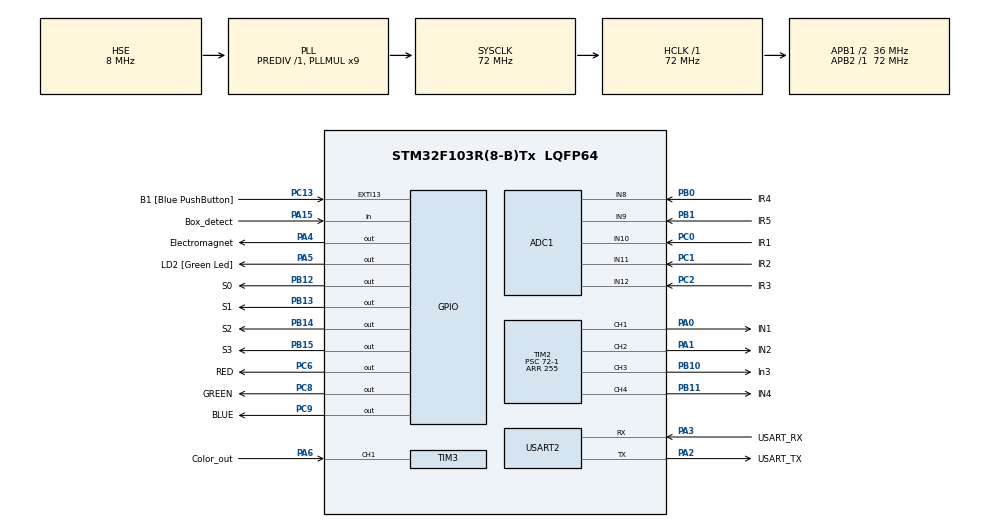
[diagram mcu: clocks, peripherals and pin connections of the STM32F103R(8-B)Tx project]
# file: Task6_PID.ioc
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ADC1.Channel-0\#ChannelRegularConversion=ADC_CHANNEL_10
ADC1.Channel-1\#ChannelRegularConversion=ADC_CHANNEL_11
ADC1.Channel-2\#ChannelRegularConversion=ADC_CHANNEL_12
ADC1.Channel-3\#ChannelRegularConversion=ADC_CHANNEL_8
ADC1.Channel-4\#ChannelRegularConversion=ADC_CHANNEL_9
ADC1.ContinuousConvMode=ENABLE
ADC1.NbrOfConversion=5
ADC1.NbrOfConversionFlag=1
ADC1.Rank-0\#ChannelRegularConversion=1
ADC1.Rank-1\#ChannelRegularConversion=2
ADC1.Rank-2\#ChannelRegularConversion=3
ADC1.Rank-3\#ChannelRegularConversion=4
ADC1.Rank-4\#ChannelRegularConversion=5
ADC1.SamplingTime-0\#ChannelRegularConversion=ADC_SAMPLETIME_55CYCLES_5
ADC1.SamplingTime-1\#ChannelRegularConversion=ADC_SAMPLETIME_55CYCLES_5
ADC1.SamplingTime-2\#ChannelRegularConversion=ADC_SAMPLETIME_55CYCLES_5
ADC1.SamplingTime-3\#ChannelRegularConversion=ADC_SAMPLETIME_55CYCLES_5
ADC1.SamplingTime-4\#ChannelRegularConversion=ADC_SAMPLETIME_55CYCLES_5
ADC1.master=1
Dma.ADC1.0.Direction=DMA_PERIPH_TO_MEMORY
Dma.ADC1.0.Instance=DMA1_Channel1
Dma.ADC1.0.MemDataAlignment=DMA_MDATAALIGN_HALFWORD
Dma.ADC1.0.MemInc=DMA_MINC_ENABLE
Dma.ADC1.0.Mode=DMA_CIRCULAR
Dma.ADC1.0.PeriphDataAlignment=DMA_PDATAALIGN_HALFWORD
Dma.ADC1.0.PeriphInc=DMA_PINC_DISABLE
Dma.ADC1.0.Priority=DMA_PRIORITY_LOW
Dma.Request0=ADC1
Mcu.Family=STM32F1
Mcu.Name=STM32F103R(8-B)Tx
Mcu.Package=LQFP64
NVIC.ADC1_2_IRQn=true\:0\:0\:false\:false\:true\:true\:true\:true
NVIC.DMA1_Channel1_IRQn=true\:0\:0\:false\:false\:true\:false\:true\:true
NVIC.EXTI15_10_IRQn=true\:0\:0\:false\:false\:true\:true\:true\:true
NVIC.PriorityGroup=NVIC_PRIORITYGROUP_4
NVIC.TIM3_IRQn=true\:0\:0\:false\:false\:true\:true\:true\:true
PA0-WKUP.GPIO_Label=IN1
PA0-WKUP.Signal=S_TIM2_CH1_ETR
PA1.GPIO_Label=IN2
PA1.Signal=S_TIM2_CH2
PA13.GPIO_Label=TMS
PA13.Mode=Serial_Wire
PA13.Signal=SYS_JTMS-SWDIO
PA14.GPIO_Label=TCK
PA14.Mode=Serial_Wire
PA14.Signal=SYS_JTCK-SWCLK
PA15.GPIO_Label=Box_detect
PA15.Signal=GPIO_Input
PA2.GPIO_Label=USART_TX
PA2.GPIO_Mode=GPIO_MODE_AF_PP
PA2.GPIO_PuPd=GPIO_NOPULL
PA2.GPIO_Speed=GPIO_SPEED_FREQ_LOW
PA2.Mode=Asynchronous
PA2.Signal=USART2_TX
PA3.GPIO_Label=USART_RX
PA3.GPIO_Mode=GPIO_MODE_AF_PP
PA3.GPIO_PuPd=GPIO_NOPULL
PA3.GPIO_Speed=GPIO_SPEED_FREQ_LOW
PA3.Mode=Asynchronous
PA3.Signal=USART2_RX
PA4.GPIO_Label=Electromagnet
PA4.Signal=GPIO_Output
PA5.GPIO_Label=LD2 [Green Led]
PA5.GPIO_ModeDefaultOutputPP=GPIO_MODE_OUTPUT_PP
PA5.GPIO_PuPd=GPIO_NOPULL
PA5.GPIO_Speed=GPIO_SPEED_FREQ_LOW
PA5.Signal=GPIO_Output
PA6.GPIO_Label=Color_out
PA6.Signal=S_TIM3_CH1
PB0.GPIO_Label=IR4
PB0.Signal=ADCx_IN8
PB1.GPIO_Label=IR5
PB1.Signal=ADCx_IN9
PB10.GPIO_Label=In3
PB10.Signal=S_TIM2_CH3
PB11.GPIO_Label=IN4
PB11.Signal=S_TIM2_CH4
PB12.GPIO_Label=S0
PB12.Signal=GPIO_Output
PB13.GPIO_Label=S1
PB13.Signal=GPIO_Output
PB14.GPIO_Label=S2
PB14.Signal=GPIO_Output
PB15.GPIO_Label=S3
PB15.Signal=GPIO_Output
PB3.GPIO_Label=SWO
PB3.Signal=SYS_JTDO-TRACESWO
PC0.GPIO_Label=IR1
PC0.Signal=ADCx_IN10
PC1.GPIO_Label=IR2
PC1.Signal=ADCx_IN11
PC13-TAMPER-RTC.GPIO_Label=B1 [Blue PushButton]
PC13-TAMPER-RTC.GPIO_PuPd=GPIO_NOPULL
PC13-TAMPER-RTC.Signal=GPXTI13
PC14-OSC32_IN.Mode=LSE-External-Oscillator
PC14-OSC32_IN.Signal=RCC_OSC32_IN
PC15-OSC32_OUT.Mode=LSE-External-Oscillator
PC15-OSC32_OUT.Signal=RCC_OSC32_OUT
PC2.GPIO_Label=IR3
PC2.Signal=ADCx_IN12
PC6.GPIO_Label=RED
PC6.Signal=GPIO_Output
PC8.GPIO_Label=GREEN
PC8.Signal=GPIO_Output
PC9.GPIO_Label=BLUE
PC9.Signal=GPIO_Output
PD0-OSC_IN.Mode=HSE-External-Clock-Source
PD0-OSC_IN.Signal=RCC_OSC_IN
PD1-OSC_OUT.Mode=HSE-External-Clock-Source
PD1-OSC_OUT.Signal=RCC_OSC_OUT
ProjectManager.HeapSize=0x200
ProjectManager.StackSize=0x400
ProjectManager.TargetToolchain=STM32CubeIDE
RCC.ADCPresc=RCC_ADCPCLK2_DIV6
RCC.AHBFreq_Value=72000000
RCC.APB1CLKDivider=RCC_HCLK_DIV2
RCC.APB1Freq_Value=36000000
RCC.APB1TimFreq_Value=72000000
RCC.APB2Freq_Value=72000000
RCC.APB2TimFreq_Value=72000000
RCC.HCLKFreq_Value=72000000
RCC.PLLMUL=RCC_PLL_MUL9
RCC.PLLSourceVirtual=RCC_PLLSOURCE_HSE
RCC.RTCClockSelection=RCC_RTCCLKSOURCE_LSE
RCC.SYSCLKFreq_VALUE=72000000
RCC.SYSCLKSource=RCC_SYSCLKSOURCE_PLLCLK
RCC.USBFreq_Value=72000000
SH.ADCx_IN10.0=ADC1_IN10,IN10
SH.ADCx_IN11.0=ADC1_IN11,IN11
SH.ADCx_IN12.0=ADC1_IN12,IN12
SH.ADCx_IN8.0=ADC1_IN8,IN8
SH.ADCx_IN9.0=ADC1_IN9,IN9
SH.S_TIM2_CH1_ETR.0=TIM2_CH1,PWM Generation1 CH1
SH.S_TIM2_CH2.0=TIM2_CH2,PWM Generation2 CH2
SH.S_TIM2_CH3.0=TIM2_CH3,PWM Generation3 CH3
SH.S_TIM2_CH4.0=TIM2_CH4,PWM Generation4 CH4
SH.S_TIM3_CH1.0=TIM3_CH1,Input_Capture1_from_TI1
TIM2.Channel-PWM\ Generation1\ CH1=TIM_CHANNEL_1
TIM2.Channel-PWM\ Generation2\ CH2=TIM_CHANNEL_2
TIM2.Channel-PWM\ Generation3\ CH3=TIM_CHANNEL_3
TIM2.Channel-PWM\ Generation4\ CH4=TIM_CHANNEL_4
TIM2.Period=255
TIM2.Prescaler=72-1
TIM3.Channel-Input_Capture1_from_TI1=TIM_CHANNEL_1
USART2.VirtualMode=VM_ASYNC
board=NUCLEO-F103RB

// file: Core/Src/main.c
/* USER CODE BEGIN Header */
/**
 ******************************************************************************
 * Team ID         :3568
 * Author list     :E.Venkata Sai Sudharshan Reddy, P.Kusuma Venkata Siva Sai, K.Prakash Reddy, P.Akhil Naidu.
 * @file           : main.c(Task6)
 * @brief          : 3-box PID line follower – random colour placement
 * Theme           : eYRC Crop Drop Bot(CB)
 * Functions       :SystemClock_Config, MX_GPIO_Init, MX_DMA_Init, MX_USART2_UART_Init, MX_ADC1_Init, MX_TIM2_Init, MX_TIM3_Init, NormalizeReflectance, CalculatePosition, ComputePID, SetMotorSpeeds,FloatToString, Check_Surface_Mode, Local_Color_Detect, Do_Pickup_Routine, SetColorLED,HAL_ADC_ConvCpltCallback, Error_Handler, assert_failed.

 * Global Variables: ADC_HandleTypeDef hadc1, DMA_HandleTypeDef hdma_adc1, TIM_HandleTypeDef htim2, TIM_HandleTypeDef htim3, UART_HandleTypeDef huart2, uint16_t adcBuffer[5], float reflectance[5], float voltages[5], float integral, float prev_error, float filtered_position, volatile uint8_t adc_complete, RobotState current_state, bool is_black_line_mode, InternalBoxColor picked_color, uint8_t boxes_delivered, uint8_t scan_count, InternalBoxColor scanned_colors[2], static float prev_reflect[5].
 *
 *  Drop-zone routing (decided by colour sensor at pickup, not search order):
 *    RED  → node 1 on black line → right turn → drop
 *    BLUE → node 2 on black line → left  turn → drop
 *    GREEN→ node 3 on black line → right turn → drop
 ******************************************************************************
 * @attention
 *
 * Copyright (c) 2026 STMicroelectronics.
 * All rights reserved.
 *
 * This software is licensed under terms that can be found in the LICENSE file
 * in the root directory of this software component.
 * If no LICENSE file comes with this software, it is provided AS-IS.
 *
 ******************************************************************************
 */
/* USER CODE END Header */

#include "main.h"

/* USER CODE BEGIN Includes */
#include "Color.h"
#include <math.h>
#include <stdbool.h>
#include <stdint.h>
#include <stdio.h>
#include <stdlib.h>
#include <string.h>
/* USER CODE END Includes */

/* USER CODE BEGIN PTD */

/**
 *  Simplified 7-state machine.
 *  The same STATE_SEARCH / STATE_RETURN / STATE_BRANCH_OUT / STATE_BRANCH_RET
 *  are reused for all 3 trips.  Routing is driven by picked_color, not by
 *  which trip number we are on.
 */
typedef enum {
  STATE_PRE_SCAN,     // Scan first 2 boxes WITHOUT picking up; count colours
  STATE_SEARCH,       // Follow white line, detect & pick up 3rd box
  STATE_RETURN,       // Carry box on black line, count nodes to drop zone
  STATE_BRANCH_OUT,   // Drive down branch to drop point, release box
  STATE_BRANCH_RET,   // Spin and return from branch back to main line
  STATE_TRANSITION,   // Cross black-line area → white-line source area
  STATE_FINAL_RETURN, // All 3 boxes dropped; return to start & stop
  STATE_DONE,         // Motors off, white LED solid ON
  STATE_BLINK         // Blink white LED after final stop
} RobotState;

typedef enum { BOX_NONE = 0, BOX_RED, BOX_GREEN, BOX_BLUE } InternalBoxColor;

/* USER CODE END PTD */

/* USER CODE BEGIN PD */

// ── PID Gains ──────────────────────────────────────────────────────────────
#define KP 60.0f
#define KI 0.05f
#define KD 30.0f

#define KP_WL 180.00f
#define KI_WL 10.095f
#define KD_WL 45.500f

// ── Speed Settings ──────────────────────────────────────────────────────────
#define BASE_SPEED 250
#define BASE_SPEED_WL 270
#define MAX_TURN_DIFF 400

// ── Turning Assistance – Black Line ─────────────────────────────────────────
#define SHARP_TURN_THRESH_BL 0.8f
#define TURN_BOOST_BL 2.50f
#define HARD_TURN_ERR_BL 0.6f
#define EXTREME_TURN_ERR_BL 1.8f
#define HARD_TURN_ADD_BL 180
#define HARD_TURN_SUB_BL 120
#define EXTREME_TURN_L_BL 255
#define EXTREME_TURN_R_BL -250

// ── Turning Assistance – White Line ─────────────────────────────────────────
#define SHARP_TURN_THRESH_WL 0.9f
#define TURN_BOOST_WL 3.0f
#define HARD_TURN_ERR_WL 0.60f
#define EXTREME_TURN_ERR_WL 1.8f
#define HARD_TURN_ADD_WL 210
#define HARD_TURN_SUB_WL 190
#define EXTREME_TURN_L_WL 250
#define EXTREME_TURN_R_WL -250

// ── Line / Node Detection ───────────────────────────────────────────────────
#define LINE_LOST_THRESHOLD 12.0f
#define BLACK_LINE_THRESH 12.0f // reflectance % below this → on black line
#define WHITE_NODE_THRESH 60.0f // reflectance % above this → white-line node

// ── Mode Switching ──────────────────────────────────────────────────────────
#define SURFACE_THRESH 55.0f
#define MODE_DEBOUNCE_COUNT 8

// ── Control Loop ────────────────────────────────────────────────────────────
#define LOOP_DELAY_MS 1.5f
#define INTEGRAL_LIMIT 22.50f
#define FILTER_ALPHA 0.5f

// ── Color Detection Gains (used in Local_Color_Detect) ──────────────────────
#ifndef COLOR_R_GAIN
#define COLOR_R_GAIN 1.8f
#endif
#ifndef COLOR_G_GAIN
#define COLOR_G_GAIN 2.9f
#endif
#ifndef COLOR_B_GAIN
#define COLOR_B_GAIN 1.99f
#endif
#ifndef COLOR_DIFF
#define COLOR_DIFF 200
#endif

// ── Sensor Calibration ──────────────────────────────────────────────────────
const uint16_t black_min_WL[5] = {3250, 3295, 3200, 3200, 1450};
const uint16_t white_max_WL[5] = {4095, 4095, 4095, 4095, 4000};

const uint16_t black_min_BL[5] = {3450,3295, 3680, 3920, 1450};
const uint16_t white_max_BL[5] = {4095, 4095, 4095, 4095, 4095};

const float weights[5] = {-2.0f, -1.0f, 0.0f, 1.0f, 2.0f};

/* USER CODE END PD */

ADC_HandleTypeDef hadc1;
DMA_HandleTypeDef hdma_adc1;
TIM_HandleTypeDef htim2;
TIM_HandleTypeDef htim3;
UART_HandleTypeDef huart2;

/* USER CODE BEGIN PV */
uint16_t adcBuffer[5];
float reflectance[5];
float voltages[5];
float integral = 0.0f;
float prev_error = 0.0f;
float filtered_position = 0.0f;
volatile uint8_t adc_complete = 0;

RobotState current_state = STATE_PRE_SCAN; /* start in pre-scan phase */
bool is_black_line_mode = false;
InternalBoxColor picked_color = BOX_NONE;
uint8_t boxes_delivered = 0; /* counts delivered boxes (0→3) */
uint8_t scan_count = 0;      /* how many boxes scanned without pickup */
InternalBoxColor scanned_colors[2] = {BOX_NONE, BOX_NONE}; /* colours seen */

static float prev_reflect[5] = {0.0f, 0.0f, 0.0f, 0.0f, 0.0f};
/* USER CODE END PV */

void SystemClock_Config(void);
static void MX_GPIO_Init(void);
static void MX_DMA_Init(void);
static void MX_USART2_UART_Init(void);
static void MX_ADC1_Init(void);
static void MX_TIM2_Init(void);
static void MX_TIM3_Init(void);

/* USER CODE BEGIN PFP */
float NormalizeReflectance(int idx, uint16_t raw, bool black_line_mode);
float CalculatePosition(float *den_out, bool black_line);
float ComputePID(float error, float *integral, float *prev_error, float dt,
                 float kp, float ki, float kd);
void SetMotorSpeeds(int16_t left, int16_t right);
char *FloatToString(float value, int precision, char *buf, int sz);
void Check_Surface_Mode(void);
InternalBoxColor Local_Color_Detect(void);
void Do_Pickup_Routine(void);
void SetColorLED(InternalBoxColor color);
/* USER CODE END PFP */

/* USER CODE BEGIN 0 */

/* ────────────────────────────────────────────────────────────────────────────
 * SetColorLED
 * Uses the RGB LED pins defined in Color.h  (PC6 = R, PC8 = G, PC9 = B).
 * LEDs are COMMON ANODE → GPIO_PIN_RESET = ON, GPIO_PIN_SET = OFF.
 *
 *   BOX_RED   → red   LED only
 *   BOX_GREEN → green LED only
 *   BOX_BLUE  → blue  LED only
 *   BOX_NONE  → all 3 ON (white) – shown after each box is dropped
 * ────────────────────────────────────────────────────────────────────────── */
void SetColorLED(InternalBoxColor color) {
  /* Default: all OFF (common-anode → SET = off) */
  GPIO_PinState r = GPIO_PIN_SET;
  GPIO_PinState g = GPIO_PIN_SET;
  GPIO_PinState b = GPIO_PIN_SET;

  switch (color) {
  case BOX_RED:
    r = GPIO_PIN_RESET;
    break; /* only red on   */
  case BOX_GREEN:
    g = GPIO_PIN_RESET;
    break; /* only green on */
  case BOX_BLUE:
    b = GPIO_PIN_RESET;
    break; /* only blue on  */
  default: /* BOX_NONE → white (all on) */
    r = GPIO_PIN_RESET;
    g = GPIO_PIN_RESET;
    b = GPIO_PIN_RESET;
    break;
  }
  /* Write to the colour-sensor LED pins (defined in Color.h) */
  HAL_GPIO_WritePin(COLOR_LED_R_PORT, COLOR_LED_R_PIN, r); /* PC6 */
  HAL_GPIO_WritePin(COLOR_LED_G_PORT, COLOR_LED_G_PIN, g); /* PC8 */
  HAL_GPIO_WritePin(COLOR_LED_B_PORT, COLOR_LED_B_PIN, b); /* PC9 */
}

/* ────────────────────────────────────────────────────────────────────────────
 * Local_Color_Detect
 * Reads TCS3200 once per channel and identifies the dominant colour.
 *
 * WHY we do NOT call Color_Detect() here:
 *   Color_Detect() internally calls Color_ReadRed/Green/Blue() again,
 *   each with a 50 ms HAL_Delay → 150 ms extra.  Because the TCS3200
 *   IC_CaptureCallback updates the shared `frequency` variable on every
 *   rising edge, calling Read() twice returns stale data from the PREVIOUS
 *   filter selection, producing wrong colours (pink / yellow / sky-blue).
 *
 * Solution: one clean set of 3 reads, same gains/threshold as Color.c.
 * ────────────────────────────────────────────────────────────────────────── */
InternalBoxColor Local_Color_Detect(void) {
  /* Select each filter, wait 50 ms for the frequency to stabilise, read */
  uint32_t r = Color_ReadRed();   /* S2=L S3=L → Red   photodiodes */
  uint32_t g = Color_ReadGreen(); /* S2=H S3=H → Green photodiodes */
  uint32_t b = Color_ReadBlue();  /* S2=L S3=H → Blue  photodiodes */

  /* Apply the same normalisation gains as Color.c (from Color.h defines) */
  uint32_t r_n =
      (uint32_t)(r * COLOR_R_GAIN); /* = r * 1.8f  – red is low on TCS3200 */
  uint32_t g_n = (uint32_t)(g * COLOR_G_GAIN); /* = g * 2.9f  */
  uint32_t b_n = (uint32_t)(b * COLOR_B_GAIN); /* = b * 1.99f */

  /* Same thresholds as Color_Detect() in Color.c */
  if ((r_n > g_n + COLOR_DIFF - 100) && (r_n > b_n + COLOR_DIFF - 95))
    return BOX_RED;
  if ((g_n > r_n + COLOR_DIFF) && (g_n > b_n + COLOR_DIFF))
    return BOX_GREEN;
  if ((b_n > r_n + COLOR_DIFF) && (b_n > g_n + COLOR_DIFF))
    return BOX_BLUE;

  return BOX_NONE; /* unrecognised mix – robot keeps electromagnet ON */
}

/* ────────────────────────────────────────────────────────────────────────────
 * NormalizeReflectance  –  raw ADC → 0..100 %
 * ────────────────────────────────────────────────────────────────────────── */
float NormalizeReflectance(int idx, uint16_t raw, bool black_line_mode) {
  uint16_t min_v = black_line_mode ? black_min_BL[idx] : black_min_WL[idx];
  uint16_t max_v = black_line_mode ? white_max_BL[idx] : white_max_WL[idx];
  if (raw <= min_v)
    return 0.0f;
  if (raw >= max_v)
    return 100.0f;
  return ((float)(raw - min_v) / (float)(max_v - min_v)) * 100.0f;
}

/* ────────────────────────────────────────────────────────────────────────────
 * Check_Surface_Mode  –  debounced black/white surface detection
 * ────────────────────────────────────────────────────────────────────────── */
void Check_Surface_Mode(void) {
  float outer_avg = (reflectance[0] + reflectance[4]) / 2.0f;
  static uint32_t stable_count = 0;
  static bool potential_mode = false;

  bool detected_white_surface = (outer_avg > SURFACE_THRESH);

  if (detected_white_surface != is_black_line_mode) {
    if (detected_white_surface == potential_mode) {
      if (++stable_count > MODE_DEBOUNCE_COUNT) {
        is_black_line_mode = detected_white_surface;
        stable_count = 0;
        integral = 0.0f;
        prev_error = 0.0f;
      }
    } else {
      potential_mode = detected_white_surface;
      stable_count = 0;
    }
  } else {
    stable_count = 0;
  }
}

/* ────────────────────────────────────────────────────────────────────────────
 * CalculatePosition  –  weighted-average position in [-2, +2], 0 = centred
 * ────────────────────────────────────────────────────────────────────────── */
float CalculatePosition(float *den_out, bool black_line) {
  float num = 0.0f, den = 0.0f;
  for (int i = 0; i < 5; i++) {
    float s = black_line ? (100.0f - reflectance[i]) : reflectance[i];
    num += s * weights[i];
    den += s;
  }
  *den_out = den;

  float raw_pos = (den > 0.0f) ? (num / den) : 0.0f;
  if (den < LINE_LOST_THRESHOLD)
    raw_pos = filtered_position;

  float delta = raw_pos - filtered_position;
  if (fabsf(delta) > 0.5f)
    raw_pos = filtered_position + (delta > 0 ? 0.5f : -0.5f);

  filtered_position =
      FILTER_ALPHA * filtered_position + (1.0f - FILTER_ALPHA) * raw_pos;
  return filtered_position;
}

/* ────────────────────────────────────────────────────────────────────────────
 * SetMotorSpeeds  –  TIM2 CH1/CH2 = Left motor, CH3/CH4 = Right motor
 * ────────────────────────────────────────────────────────────────────────── */
void SetMotorSpeeds(int16_t left, int16_t right) {
  if (left < 0) {
    __HAL_TIM_SET_COMPARE(&htim2, TIM_CHANNEL_1, 0);
    __HAL_TIM_SET_COMPARE(&htim2, TIM_CHANNEL_2, (uint8_t)(-left));
  } else {
    __HAL_TIM_SET_COMPARE(&htim2, TIM_CHANNEL_1, (uint8_t)left);
    __HAL_TIM_SET_COMPARE(&htim2, TIM_CHANNEL_2, 0);
  }
  if (right < 0) {
    __HAL_TIM_SET_COMPARE(&htim2, TIM_CHANNEL_3, 0);
    __HAL_TIM_SET_COMPARE(&htim2, TIM_CHANNEL_4, (uint8_t)(-right));
  } else {
    __HAL_TIM_SET_COMPARE(&htim2, TIM_CHANNEL_3, (uint8_t)right);
    __HAL_TIM_SET_COMPARE(&htim2, TIM_CHANNEL_4, 0);
  }
}

/* ────────────────────────────────────────────────────────────────────────────
 * FloatToString  –  lightweight float formatter
 * ────────────────────────────────────────────────────────────────────────── */
char *FloatToString(float value, int precision, char *buf, int sz) {
  if (precision < 0)
    precision = 0;
  if (precision > 6)
    precision = 6;
  bool neg = (value < 0.0f);
  if (neg)
    value = -value;
  int ip = (int)value;
  int fp = (int)((value - ip) * powf(10.0f, precision) + 0.5f);
  snprintf(buf, sz, neg ? "-%d.%0*d" : "%d.%0*d", ip, precision, fp);
  return buf;
}

/* ────────────────────────────────────────────────────────────────────────────
 * ComputePID  –  discrete P·I·D with anti-windup
 * ────────────────────────────────────────────────────────────────────────── */
float ComputePID(float error, float *integral, float *prev_error, float dt,
                 float kp, float ki, float kd) {
  if (fabsf(error) > 1.5f)
    *integral = 0.0f;
  *integral += error * dt;
  if (*integral > INTEGRAL_LIMIT)
    *integral = INTEGRAL_LIMIT;
  else if (*integral < -INTEGRAL_LIMIT)
    *integral = -INTEGRAL_LIMIT;
  float deriv = (error - *prev_error) / dt;
  *prev_error = error;
  return kp * error + ki * (*integral) + kd * deriv;
}

/* ────────────────────────────────────────────────────────────────────────────
 * Do_Pickup_Routine
 *   1. Stop.
 *   2. Activate electromagnet.
 *   3. Detect colour → light matching LED.
 *   4. Spin 180° (same motion for every colour).
 *   5. Resume forward.
 * ────────────────────────────────────────────────────────────────────────── */
void Do_Pickup_Routine(void) {
  SetMotorSpeeds(0, 0);
  HAL_GPIO_WritePin(Electromagnet_GPIO_Port, Electromagnet_Pin, GPIO_PIN_SET);
  picked_color = Local_Color_Detect();
  SetColorLED(picked_color); /* Show detected colour               */
  /* Skip the 180° spin for the 1st pickup (boxes_delivered == 0).
   * After the pre-scan, the robot already spun 180° and is facing
   * the drop zones, so no extra spin is needed.
   * For the 2nd and 3rd pickups the spin is required. */
  if (boxes_delivered >= 1) {
    SetMotorSpeeds(-255, 255); /* 180° spin */
    HAL_Delay(640);
  }
  SetMotorSpeeds(BASE_SPEED, BASE_SPEED);
}

/* USER CODE END 0 */

/**
 * @brief  Application entry point.
 * @retval int
 */
int main(void) {

  HAL_Init();

  SystemClock_Config();

  MX_GPIO_Init();
  MX_DMA_Init();
  MX_USART2_UART_Init();
  MX_ADC1_Init();
  MX_TIM2_Init();
  MX_TIM3_Init();

  /* USER CODE BEGIN 2 */
  HAL_TIM_PWM_Start(&htim2, TIM_CHANNEL_1);
  HAL_TIM_PWM_Start(&htim2, TIM_CHANNEL_2);
  HAL_TIM_PWM_Start(&htim2, TIM_CHANNEL_3);
  HAL_TIM_PWM_Start(&htim2, TIM_CHANNEL_4);

  Color_Init(&htim3);
  HAL_ADC_Start_DMA(&hadc1, (uint32_t *)adcBuffer, 5);
  /* USER CODE END 2 */

  while (1) {
    /* USER CODE BEGIN 3 */

    if (adc_complete) {
      adc_complete = 0;

      /* ── 1. Normalise & low-pass filter sensor readings ─────── */
      float den = 0.0f;
      for (int i = 0; i < 5; i++) {
        float raw = NormalizeReflectance(i, adcBuffer[i], is_black_line_mode);
        reflectance[i] =
            FILTER_ALPHA * raw + (1.0f - FILTER_ALPHA) * prev_reflect[i];
        prev_reflect[i] = reflectance[i];
        voltages[i] = (adcBuffer[i] / 4095.0f) * 3.3f;
        den += reflectance[i];
      }

      /* ── 2. Surface-mode detection ──────────────────────────── */
      Check_Surface_Mode();

      /* ── 3. State machine ───────────────────────────────────── */
      static int node_count = 0;
      static uint32_t last_node_time = 0;
      static uint32_t branch_timer = 0;

      switch (current_state) {
      /* ══════════════════════════════════════════════════════════
       * STATE_PRE_SCAN
       * Follow white line at full speed.
       * Each time box-detect fires: increment scan_count (no stop,
       * no colour read, no LED).
       * After 2 counts AND all sensors white: spin 180° → STATE_SEARCH.
       * ══════════════════════════════════════════════════════════ */
      case STATE_PRE_SCAN: {
        static uint32_t scan_debounce = 0;

        /* Quick count – no stop, no colour read */
        if (HAL_GPIO_ReadPin(Box_detect_GPIO_Port, Box_detect_Pin) ==
                GPIO_PIN_RESET &&
            (HAL_GetTick() - scan_debounce > 600)) {
          scan_count++;
          scan_debounce = HAL_GetTick();
        }

        /* After both boxes counted: wait for all-white, then spin + go */
        if (scan_count >= 2) {
          float total_reflect = 0.0f;
          for (int i = 0; i < 5; i++)
            total_reflect += reflectance[i];

          if ((total_reflect / 5.0f) > 70.0f) {
            SetMotorSpeeds(0, 0);
            HAL_Delay(00);
            SetMotorSpeeds(-255, 255); /* spin 180° */
            HAL_Delay(650);
            SetMotorSpeeds(BASE_SPEED_WL, BASE_SPEED_WL);
            HAL_Delay(00);
            current_state = STATE_SEARCH; /* 3rd box – pick it up */
          }
        }
        break;
      }
      /* ══════════════════════════════════════════════════════════
       *  STATE_SEARCH
       *  Follow white line until the box-detect sensor fires.
       *  Pickup, identify colour, light LED, spin 180°.
       * ══════════════════════════════════════════════════════════ */
      case STATE_SEARCH:
        if (HAL_GPIO_ReadPin(Box_detect_GPIO_Port, Box_detect_Pin) ==
            GPIO_PIN_RESET) {
          Do_Pickup_Routine(); /* stops, picks, lights LED, spins    */
          node_count = 0;
          last_node_time = HAL_GetTick();
          current_state = STATE_RETURN;
        }
        break;

      /* ══════════════════════════════════════════════════════════
       *  STATE_RETURN
       *  Navigate on the black line by counting nodes.
       *  Drop-zone routing decided entirely by picked_color:
       *
       *    RED   → node 1, turn RIGHT  (SetMotorSpeeds 250, -250)
       *    BLUE  → node 2, turn LEFT   (SetMotorSpeeds -255, 255)
       *    GREEN → node 3, turn RIGHT  (SetMotorSpeeds 250, -250)
       * ══════════════════════════════════════════════════════════ */
      case STATE_RETURN:
        if (is_black_line_mode) {
          int black_count = 0;
          for (int i = 0; i < 5; i++)
            if (reflectance[i] < BLACK_LINE_THRESH)
              black_count++;

          if (black_count >= 3 && (HAL_GetTick() - last_node_time > 400)) {
            node_count++;
            last_node_time = HAL_GetTick();

            /* Determine target node and turn direction for this colour */
            int target_node = 0;
            bool turn_right = true;

            if (picked_color == BOX_RED) {
              target_node = 1;
              turn_right = true;
            } else if (picked_color == BOX_BLUE) {
              target_node = 2;
              turn_right = false;
            } else if (picked_color == BOX_GREEN) {
              target_node = 3;
              turn_right = true;
            }

            if (node_count == target_node) {
              /* Creep forward a little so the front wheel clears the node */
              SetMotorSpeeds(BASE_SPEED, BASE_SPEED);
              HAL_Delay(120);

              /* Turn into the branch */
              if (turn_right) {
                SetMotorSpeeds(255, -255); /* right */
                HAL_Delay(360);
              } else {
                SetMotorSpeeds(-255, 255); /* left  */
                HAL_Delay(340);
              }

              current_state = STATE_BRANCH_OUT;
              branch_timer = HAL_GetTick();
            }
          }
        }
        break;

      /* ══════════════════════════════════════════════════════════
       *  STATE_BRANCH_OUT
       *  Follow the branch until the next node (the drop point).
       *  Release box → white LED.
       *  Spin 180° to face back → STATE_BRANCH_RET.
       *
       *  Guard time is colour-specific:
       *    GREEN → 800 ms (branch is farthest, node 3)
       *    RED / BLUE → 400 ms
       * ══════════════════════════════════════════════════════════ */
      case STATE_BRANCH_OUT:
        if (is_black_line_mode) {
          int black_count = 0;
          for (int i = 0; i < 5; i++)
            if (reflectance[i] < BLACK_LINE_THRESH)
              black_count++;

          /* Longer guard for GREEN so the junction doesn't false-trigger */
          uint32_t branch_guard = (picked_color == BOX_GREEN) ? 800u : 400u;

          if (black_count >= 3 &&
              (HAL_GetTick() - branch_timer > branch_guard)) {
            /* Drop box */
            SetMotorSpeeds(0, 0);
            HAL_GPIO_WritePin(Electromagnet_GPIO_Port, Electromagnet_Pin,
                              GPIO_PIN_RESET);
            SetColorLED(BOX_NONE); /* White LED: box delivered           */
            boxes_delivered++;

            HAL_Delay(20);
            SetMotorSpeeds(-255, 255);
            HAL_Delay(620); /* 180° spin         */
            SetMotorSpeeds(BASE_SPEED, BASE_SPEED);
            HAL_Delay(60);

            current_state = STATE_BRANCH_RET;
            branch_timer = HAL_GetTick();
          }
        }
        break;

      /* ══════════════════════════════════════════════════════════
       *  STATE_BRANCH_RET
       *  Follow line back until we hit the main-line junction.
       *  Re-align to face toward the source (white-line side).
       *
       *  Turn to re-enter main line:
       *    BLUE  (came via left turn)  → realign with RIGHT turn
       *    RED / GREEN (came via right)→ realign with LEFT turn
       *
       *  After re-alignment:
       *    boxes_delivered < 3 → STATE_TRANSITION  (get next box)
       *    boxes_delivered == 3→ STATE_FINAL_RETURN (all done)
       * ══════════════════════════════════════════════════════════ */
      case STATE_BRANCH_RET:
        if (is_black_line_mode) {
          int black_count = 0;
          for (int i = 0; i < 5; i++)
            if (reflectance[i] < BLACK_LINE_THRESH)
              black_count++;

          if (black_count >= 4 && (HAL_GetTick() - branch_timer > 400)) {
            SetMotorSpeeds(BASE_SPEED, BASE_SPEED);
            HAL_Delay(30);

            /* Re-align: opposite of how we entered the branch */
            if (picked_color == BOX_BLUE) {
              SetMotorSpeeds(255, -255);
              HAL_Delay(310); /* right re-align  */
            } else {
              /* RED and GREEN both entered via right turn                  */
              SetMotorSpeeds(-250, 250);
              HAL_Delay(350); /* left re-align   */
            }

            if (boxes_delivered >= 3)
              current_state = STATE_FINAL_RETURN;
            else
              current_state = STATE_TRANSITION;

            node_count = 0;
          }
        }
        break;

      /* ══════════════════════════════════════════════════════════
       *  STATE_TRANSITION
       *  Robot is on the black-line side; follow line until the
       *  surface switches to white (is_black_line_mode goes false).
       *  Debounce, then go back to STATE_SEARCH for the next box.
       * ══════════════════════════════════════════════════════════ */
      case STATE_TRANSITION:
        if (!is_black_line_mode) {
          static int t_confirm = 0;
          if (++t_confirm > 25) {
            t_confirm = 0;
            node_count = 0;
            current_state = STATE_SEARCH;
          }
        }
        break;

      /* ══════════════════════════════════════════════════════════
       *  STATE_FINAL_RETURN  (all 3 boxes delivered)
       *
       *  Timer-based stop: 12 seconds after entering this state
       *  (i.e. after exiting the 3rd drop node) the robot stops
       *  automatically regardless of sensor readings.
       *  The robot follows the line normally during this time.
       * ══════════════════════════════════════════════════════════ */
      case STATE_FINAL_RETURN: {
        static uint32_t entry_time = 0;
        if (entry_time == 0) {
          entry_time = HAL_GetTick();
        }
        uint32_t elapsed = HAL_GetTick() - entry_time;
        if (elapsed > 10500) {
          SetMotorSpeeds(0, 0);
          entry_time = 0;
          current_state = STATE_BLINK;
        }
        break;
      }

      /* ══════════════════════════════════════════════════════════
       * STATE_DONE – task complete (legacy, not used)
       * Motors off. White LED stays solid ON forever.
       * ══════════════════════════════════════════════════════════ */
      case STATE_DONE:
        SetMotorSpeeds(0, 0);
        SetColorLED(BOX_NONE); /* solid white LED */
        break;
      /* ══════════════════════════════════════════════════════════
       * STATE_BLINK – blink white LED every 0.5s after final stop
       * Motors off. Toggle white LED on/off.
       * ══════════════════════════════════════════════════════════ */
      case STATE_BLINK: {
        SetMotorSpeeds(0, 0);
        static uint32_t blink_time = 0;
        static bool led_on = true;
        if (blink_time == 0) {
          blink_time = HAL_GetTick();
          SetColorLED(BOX_NONE); /* start with white ON */
          led_on = true;
        }
        uint32_t elapsed = HAL_GetTick() - blink_time;
        if (elapsed >= 500) {
          blink_time = HAL_GetTick();
          if (led_on) {
            HAL_GPIO_WritePin(COLOR_LED_R_PORT, COLOR_LED_R_PIN, GPIO_PIN_SET);
            HAL_GPIO_WritePin(COLOR_LED_G_PORT, COLOR_LED_G_PIN, GPIO_PIN_SET);
            HAL_GPIO_WritePin(COLOR_LED_B_PORT, COLOR_LED_B_PIN, GPIO_PIN_SET);
            led_on = false;
          } else {
            SetColorLED(BOX_NONE);
            led_on = true;
          }
        }
        break;
      }

      } /* end switch */

      /* ── 4. PID line-following (disabled in DONE/BLINK states) ─────── */
      if (current_state != STATE_DONE && current_state != STATE_BLINK) {
        float pos_den = 0.0f;
        float position = CalculatePosition(&pos_den, is_black_line_mode);
        float error = position;
        float dt = LOOP_DELAY_MS / 1000.0f;

        float kp = is_black_line_mode ? KP : KP_WL;
        float ki = is_black_line_mode ? KI : KI_WL;
        float kd = is_black_line_mode ? KD : KD_WL;
        float pid = ComputePID(error, &integral, &prev_error, dt, kp, ki, kd);

        float sharp_thresh =
            is_black_line_mode ? SHARP_TURN_THRESH_BL : SHARP_TURN_THRESH_WL;
        float turn_boost = is_black_line_mode ? TURN_BOOST_BL : TURN_BOOST_WL;
        float hard_err =
            is_black_line_mode ? HARD_TURN_ERR_BL : HARD_TURN_ERR_WL;
        float extreme_err =
            is_black_line_mode ? EXTREME_TURN_ERR_BL : EXTREME_TURN_ERR_WL;
        int hard_add = is_black_line_mode ? HARD_TURN_ADD_BL : HARD_TURN_ADD_WL;
        int hard_sub = is_black_line_mode ? HARD_TURN_SUB_BL : HARD_TURN_SUB_WL;
        int ext_l = is_black_line_mode ? EXTREME_TURN_L_BL : EXTREME_TURN_L_WL;
        int ext_r = is_black_line_mode ? EXTREME_TURN_R_BL : EXTREME_TURN_R_WL;

        bool sharp = fabsf(error) > sharp_thresh;
        if (sharp)
          pid *= turn_boost;
        /* Curve base: lower than straight so robot can pivot at 90° corners */
        int16_t base =
            sharp ? 175 : (is_black_line_mode ? BASE_SPEED : BASE_SPEED_WL);
        /* Line-lost recovery: spin hard toward last known error direction */
        if (pos_den < LINE_LOST_THRESHOLD) {
          if (filtered_position > 0.0f) {
            SetMotorSpeeds(255, -255); /* spin right */
          } else {
            SetMotorSpeeds(-255, 255); /* spin left  */
          }
          goto skip_pid_output;
        }
        int16_t l = base + (int16_t)pid;
        int16_t r = base - (int16_t)pid;

        if (error > hard_err) {
          l += hard_add;
          r -= hard_sub;
        }
        if (error > extreme_err) {
          l = ext_l;
          r = ext_r;
        }
        if (error < -hard_err) {
          r += hard_add;
          l -= hard_sub;
        }

        if (l - r > MAX_TURN_DIFF) {
          l = base + MAX_TURN_DIFF / 2;
          r = base - MAX_TURN_DIFF / 2;
        }
        if (r - l > MAX_TURN_DIFF) {
          r = base + MAX_TURN_DIFF / 2;
          l = base - MAX_TURN_DIFF / 2;
        }

        if (l > 255)
          l = 255;
        if (l < -255)
          l = -255;
        if (r > 255)
          r = 255;
        if (r < -255)
          r = -255;

        SetMotorSpeeds(l, r);
      skip_pid_output:; /* line-lost recovery jumps here */
      }

      /* ── 5. UART debug output ───────────────────────────────── */
      char buf[128];
      snprintf(buf, sizeof(buf), "M:%s C:%d S:%d N:%d D:%d\r\n",
               is_black_line_mode ? "BLK" : "WHT", (int)picked_color,
               (int)current_state, node_count, (int)boxes_delivered);
      HAL_UART_Transmit(&huart2, (uint8_t *)buf, strlen(buf), HAL_MAX_DELAY);
    }

    HAL_Delay(LOOP_DELAY_MS);
    /* USER CODE END 3 */
  }
}

void SystemClock_Config(void) {
  RCC_OscInitTypeDef RCC_OscInitStruct = {0};
  RCC_ClkInitTypeDef RCC_ClkInitStruct = {0};
  RCC_PeriphCLKInitTypeDef PeriphClkInit = {0};

  RCC_OscInitStruct.OscillatorType = RCC_OSCILLATORTYPE_HSE;
  RCC_OscInitStruct.HSEState = RCC_HSE_BYPASS;
  RCC_OscInitStruct.HSEPredivValue = RCC_HSE_PREDIV_DIV1;
  RCC_OscInitStruct.HSIState = RCC_HSI_ON;
  RCC_OscInitStruct.PLL.PLLState = RCC_PLL_ON;
  RCC_OscInitStruct.PLL.PLLSource = RCC_PLLSOURCE_HSE;
  RCC_OscInitStruct.PLL.PLLMUL = RCC_PLL_MUL9;
  if (HAL_RCC_OscConfig(&RCC_OscInitStruct) != HAL_OK)
    Error_Handler();

  RCC_ClkInitStruct.ClockType = RCC_CLOCKTYPE_HCLK | RCC_CLOCKTYPE_SYSCLK |
                                RCC_CLOCKTYPE_PCLK1 | RCC_CLOCKTYPE_PCLK2;
  RCC_ClkInitStruct.SYSCLKSource = RCC_SYSCLKSOURCE_PLLCLK;
  RCC_ClkInitStruct.AHBCLKDivider = RCC_SYSCLK_DIV1;
  RCC_ClkInitStruct.APB1CLKDivider = RCC_HCLK_DIV2;
  RCC_ClkInitStruct.APB2CLKDivider = RCC_HCLK_DIV1;
  if (HAL_RCC_ClockConfig(&RCC_ClkInitStruct, FLASH_LATENCY_2) != HAL_OK)
    Error_Handler();

  PeriphClkInit.PeriphClockSelection = RCC_PERIPHCLK_ADC;
  PeriphClkInit.AdcClockSelection = RCC_ADCPCLK2_DIV6;
  if (HAL_RCCEx_PeriphCLKConfig(&PeriphClkInit) != HAL_OK)
    Error_Handler();
}

/* ── Peripheral Init Functions (CubeMX generated) ──────────────────────── */

static void MX_ADC1_Init(void) {
  ADC_ChannelConfTypeDef sConfig = {0};

  hadc1.Instance = ADC1;
  hadc1.Init.ScanConvMode = ADC_SCAN_ENABLE;
  hadc1.Init.ContinuousConvMode = ENABLE;
  hadc1.Init.DiscontinuousConvMode = DISABLE;
  hadc1.Init.ExternalTrigConv = ADC_SOFTWARE_START;
  hadc1.Init.DataAlign = ADC_DATAALIGN_RIGHT;
  hadc1.Init.NbrOfConversion = 5;
  if (HAL_ADC_Init(&hadc1) != HAL_OK)
    Error_Handler();

  sConfig.SamplingTime = ADC_SAMPLETIME_55CYCLES_5;
  sConfig.Channel = ADC_CHANNEL_10;
  sConfig.Rank = ADC_REGULAR_RANK_1;
  if (HAL_ADC_ConfigChannel(&hadc1, &sConfig) != HAL_OK)
    Error_Handler();
  sConfig.Channel = ADC_CHANNEL_11;
  sConfig.Rank = ADC_REGULAR_RANK_2;
  if (HAL_ADC_ConfigChannel(&hadc1, &sConfig) != HAL_OK)
    Error_Handler();
  sConfig.Channel = ADC_CHANNEL_12;
  sConfig.Rank = ADC_REGULAR_RANK_3;
  if (HAL_ADC_ConfigChannel(&hadc1, &sConfig) != HAL_OK)
    Error_Handler();
  sConfig.Channel = ADC_CHANNEL_8;
  sConfig.Rank = ADC_REGULAR_RANK_4;
  if (HAL_ADC_ConfigChannel(&hadc1, &sConfig) != HAL_OK)
    Error_Handler();
  sConfig.Channel = ADC_CHANNEL_9;
  sConfig.Rank = ADC_REGULAR_RANK_5;
  if (HAL_ADC_ConfigChannel(&hadc1, &sConfig) != HAL_OK)
    Error_Handler();
}

static void MX_TIM2_Init(void) {
  TIM_MasterConfigTypeDef sMasterConfig = {0};
  TIM_OC_InitTypeDef sConfigOC = {0};

  htim2.Instance = TIM2;
  htim2.Init.Prescaler = 72 - 1;
  htim2.Init.CounterMode = TIM_COUNTERMODE_UP;
  htim2.Init.Period = 255;
  htim2.Init.ClockDivision = TIM_CLOCKDIVISION_DIV1;
  htim2.Init.AutoReloadPreload = TIM_AUTORELOAD_PRELOAD_DISABLE;
  if (HAL_TIM_PWM_Init(&htim2) != HAL_OK)
    Error_Handler();

  sMasterConfig.MasterOutputTrigger = TIM_TRGO_RESET;
  sMasterConfig.MasterSlaveMode = TIM_MASTERSLAVEMODE_DISABLE;
  if (HAL_TIMEx_MasterConfigSynchronization(&htim2, &sMasterConfig) != HAL_OK)
    Error_Handler();

  sConfigOC.OCMode = TIM_OCMODE_PWM1;
  sConfigOC.Pulse = 0;
  sConfigOC.OCPolarity = TIM_OCPOLARITY_HIGH;
  sConfigOC.OCFastMode = TIM_OCFAST_DISABLE;
  if (HAL_TIM_PWM_ConfigChannel(&htim2, &sConfigOC, TIM_CHANNEL_1) != HAL_OK)
    Error_Handler();
  if (HAL_TIM_PWM_ConfigChannel(&htim2, &sConfigOC, TIM_CHANNEL_2) != HAL_OK)
    Error_Handler();
  if (HAL_TIM_PWM_ConfigChannel(&htim2, &sConfigOC, TIM_CHANNEL_3) != HAL_OK)
    Error_Handler();
  if (HAL_TIM_PWM_ConfigChannel(&htim2, &sConfigOC, TIM_CHANNEL_4) != HAL_OK)
    Error_Handler();
  HAL_TIM_MspPostInit(&htim2);
}

static void MX_TIM3_Init(void) {
  TIM_MasterConfigTypeDef sMasterConfig = {0};
  TIM_IC_InitTypeDef sConfigIC = {0};

  htim3.Instance = TIM3;
  htim3.Init.Prescaler = 0;
  htim3.Init.CounterMode = TIM_COUNTERMODE_UP;
  htim3.Init.Period = 65535;
  htim3.Init.ClockDivision = TIM_CLOCKDIVISION_DIV1;
  htim3.Init.AutoReloadPreload = TIM_AUTORELOAD_PRELOAD_DISABLE;
  if (HAL_TIM_IC_Init(&htim3) != HAL_OK)
    Error_Handler();

  sMasterConfig.MasterOutputTrigger = TIM_TRGO_RESET;
  sMasterConfig.MasterSlaveMode = TIM_MASTERSLAVEMODE_DISABLE;
  if (HAL_TIMEx_MasterConfigSynchronization(&htim3, &sMasterConfig) != HAL_OK)
    Error_Handler();

  sConfigIC.ICPolarity = TIM_INPUTCHANNELPOLARITY_RISING;
  sConfigIC.ICSelection = TIM_ICSELECTION_DIRECTTI;
  sConfigIC.ICPrescaler = TIM_ICPSC_DIV1;
  sConfigIC.ICFilter = 0;
  if (HAL_TIM_IC_ConfigChannel(&htim3, &sConfigIC, TIM_CHANNEL_1) != HAL_OK)
    Error_Handler();
}

static void MX_USART2_UART_Init(void) {

  huart2.Instance = USART2;
  huart2.Init.BaudRate = 115200;
  huart2.Init.WordLength = UART_WORDLENGTH_8B;
  huart2.Init.StopBits = UART_STOPBITS_1;
  huart2.Init.Parity = UART_PARITY_NONE;
  huart2.Init.Mode = UART_MODE_TX_RX;
  huart2.Init.HwFlowCtl = UART_HWCONTROL_NONE;
  huart2.Init.OverSampling = UART_OVERSAMPLING_16;
  if (HAL_UART_Init(&huart2) != HAL_OK)
    Error_Handler();
}

static void MX_DMA_Init(void) {
  __HAL_RCC_DMA1_CLK_ENABLE();
  HAL_NVIC_SetPriority(DMA1_Channel1_IRQn, 0, 0);
  HAL_NVIC_EnableIRQ(DMA1_Channel1_IRQn);
}

static void MX_GPIO_Init(void) {
  GPIO_InitTypeDef GPIO_InitStruct = {0};

  __HAL_RCC_GPIOC_CLK_ENABLE();
  __HAL_RCC_GPIOD_CLK_ENABLE();
  __HAL_RCC_GPIOA_CLK_ENABLE();
  __HAL_RCC_GPIOB_CLK_ENABLE();

  HAL_GPIO_WritePin(GPIOA, Electromagnet_Pin | LD2_Pin, GPIO_PIN_RESET);
  HAL_GPIO_WritePin(GPIOB, S0_Pin | S1_Pin | S2_Pin | S3_Pin, GPIO_PIN_RESET);
  HAL_GPIO_WritePin(GPIOC, RED_Pin | GREEN_Pin | BLUE_Pin, GPIO_PIN_RESET);

  GPIO_InitStruct.Pin = B1_Pin;
  GPIO_InitStruct.Mode = GPIO_MODE_IT_RISING;
  GPIO_InitStruct.Pull = GPIO_NOPULL;
  HAL_GPIO_Init(B1_GPIO_Port, &GPIO_InitStruct);

  GPIO_InitStruct.Mode = GPIO_MODE_OUTPUT_PP;
  GPIO_InitStruct.Pull = GPIO_NOPULL;
  GPIO_InitStruct.Speed = GPIO_SPEED_FREQ_LOW;

  GPIO_InitStruct.Pin = Electromagnet_Pin | LD2_Pin;
  HAL_GPIO_Init(GPIOA, &GPIO_InitStruct);

  GPIO_InitStruct.Pin = S0_Pin | S1_Pin | S2_Pin | S3_Pin;
  HAL_GPIO_Init(GPIOB, &GPIO_InitStruct);

  GPIO_InitStruct.Pin = RED_Pin | GREEN_Pin | BLUE_Pin;
  HAL_GPIO_Init(GPIOC, &GPIO_InitStruct);

  GPIO_InitStruct.Pin = Box_detect_Pin;
  GPIO_InitStruct.Mode = GPIO_MODE_INPUT;
  GPIO_InitStruct.Pull = GPIO_NOPULL;
  HAL_GPIO_Init(Box_detect_GPIO_Port, &GPIO_InitStruct);

  HAL_NVIC_SetPriority(EXTI15_10_IRQn, 0, 0);
  HAL_NVIC_EnableIRQ(EXTI15_10_IRQn);
}

/* USER CODE BEGIN 4 */
void HAL_ADC_ConvCpltCallback(ADC_HandleTypeDef *hadc) {
  if (hadc->Instance == ADC1)
    adc_complete = 1;
}
/* USER CODE END 4 */

void Error_Handler(void) {
  __disable_irq();
  while (1) {
  }
}
